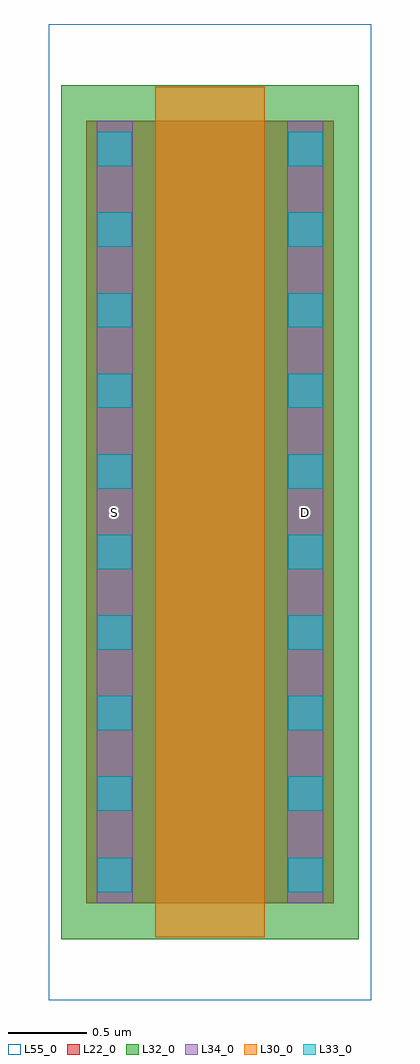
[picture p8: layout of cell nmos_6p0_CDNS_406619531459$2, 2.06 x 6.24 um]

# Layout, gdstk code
import gdstk
lib = gdstk.Library(unit=1e-6, precision=1e-09)
def R(c, l, rs):  # rectangles x0, y0, x1, y1
    for r in rs: c.add(gdstk.rectangle(r[:2], r[2:], *l))
def A(c, l, x, y, w, h, nx, ny, dx, dy):  # array of equal rectangles
    R(c, l, [(x+i*dx, y+j*dy, x+i*dx+w, y+j*dy+h) for i in range(nx) for j in range(ny)])
L22_0 = (22, 0)
L30_0 = (30, 0)
L32_0 = (32, 0)
L33_0 = (33, 0)
L34_0 = (34, 0)
L55_0 = (55, 0)

nmos_6p0_cdns_4066195314 = lib.new_cell('nmos_6p0_CDNS_406619531459$2')
R(nmos_6p0_cdns_4066195314, L22_0, [(-0.44,0,1.14,5), (-0.44,0,-0.08,5), (0.78,0,1.14,5)])
R(nmos_6p0_cdns_4066195314, L30_0, [(0,-0.22,0.7,5.22), (0,5,0.7,5.22)])
R(nmos_6p0_cdns_4066195314, L32_0, [(-0.6,-0.23,1.3,5.23)])
A(nmos_6p0_cdns_4066195314, L33_0, -0.37, 0.59, 0.22, 0.22, 1, 9, 0, 0.515)
A(nmos_6p0_cdns_4066195314, L33_0, 0.85, 0.59, 0.22, 0.22, 1, 9, 0, 0.515)
R(nmos_6p0_cdns_4066195314, L33_0, [(-0.37,0.07,-0.15,0.29), (0.85,0.07,1.07,0.29)])
R(nmos_6p0_cdns_4066195314, L34_0, [(-0.375,0,-0.145,5), (-0.375,0,-0.145,5), (0.845,0,1.075,5), (0.845,0,1.075,5)])
R(nmos_6p0_cdns_4066195314, L55_0, [(-0.68,-0.62,1.38,5.62)])
nmos_6p0_cdns_4066195314.add(gdstk.Label('S', (-0.26,2.5), layer=34, texttype=0))
nmos_6p0_cdns_4066195314.add(gdstk.Label('D', (0.96,2.5), layer=34, texttype=0))

lib.write_gds('nmos_6p0_CDNS_406619531459_2.gds')
